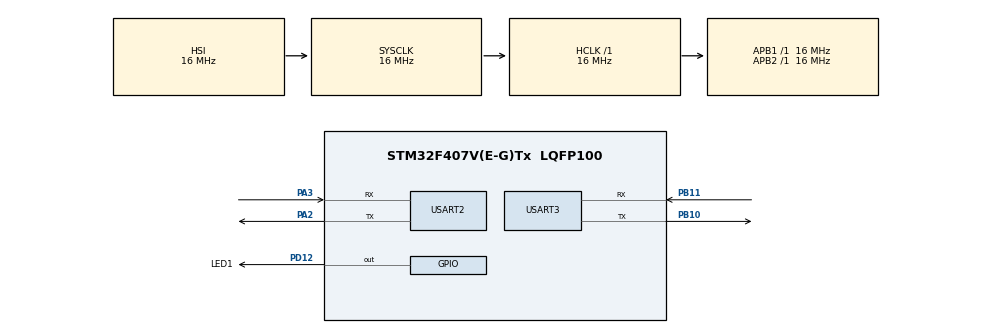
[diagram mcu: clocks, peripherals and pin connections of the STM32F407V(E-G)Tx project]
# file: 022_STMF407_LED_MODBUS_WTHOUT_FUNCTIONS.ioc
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Mcu.Family=STM32F4
Mcu.Name=STM32F407V(E-G)Tx
Mcu.Package=LQFP100
NVIC.PriorityGroup=NVIC_PRIORITYGROUP_4
NVIC.USART2_IRQn=true\:0\:0\:false\:false\:true\:true\:true\:true
PA13.Mode=Serial_Wire
PA13.Signal=SYS_JTMS-SWDIO
PA14.Mode=Serial_Wire
PA14.Signal=SYS_JTCK-SWCLK
PA2.Mode=Asynchronous
PA2.Signal=USART2_TX
PA3.Mode=Asynchronous
PA3.Signal=USART2_RX
PB10.Mode=Asynchronous
PB10.Signal=USART3_TX
PB11.Mode=Asynchronous
PB11.Signal=USART3_RX
PC14-OSC32_IN.Mode=LSE-External-Oscillator
PC14-OSC32_IN.Signal=RCC_OSC32_IN
PC15-OSC32_OUT.Mode=LSE-External-Oscillator
PC15-OSC32_OUT.Signal=RCC_OSC32_OUT
PD12.GPIO_Label=LED1
PD12.Signal=GPIO_Output
PH0-OSC_IN.Mode=HSE-External-Oscillator
PH0-OSC_IN.Signal=RCC_OSC_IN
PH1-OSC_OUT.Mode=HSE-External-Oscillator
PH1-OSC_OUT.Signal=RCC_OSC_OUT
ProjectManager.HeapSize=0x200
ProjectManager.StackSize=0x400
ProjectManager.TargetToolchain=STM32CubeIDE
RCC.AHBFreq_Value=16000000
RCC.APB1Freq_Value=16000000
RCC.APB1TimFreq_Value=16000000
RCC.APB2Freq_Value=16000000
RCC.APB2TimFreq_Value=16000000
RCC.CortexFreq_Value=16000000
RCC.HCLKFreq_Value=16000000
RCC.HSE_VALUE=25000000
RCC.HSI_VALUE=16000000
RCC.SYSCLKFreq_VALUE=16000000
RCC.VCOOutputFreq_Value=192000000
USART2.VirtualMode=VM_ASYNC
USART3.VirtualMode=VM_ASYNC
board=custom

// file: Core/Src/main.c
/* USER CODE BEGIN Header */
/**
  ******************************************************************************
  * @file           : main.c
  * @brief          : Main program body
  ******************************************************************************
  * @attention
  *
  * Copyright (c) 2024 STMicroelectronics.
  * All rights reserved.
  *
  * This software is licensed under terms that can be found in the LICENSE file
  * in the root directory of this software component.
  * If no LICENSE file comes with this software, it is provided AS-IS.
  *
  ******************************************************************************
  */
/* USER CODE END Header */
#include "main.h"

/* USER CODE BEGIN PD */
#define SLAVEID 1
/* USER CODE END PD */

UART_HandleTypeDef huart2;
UART_HandleTypeDef huart3;
uint8_t rxbuffer[100];
uint8_t txbuffer[100];

uint16_t registers[6]={1,2,3,4,5,66};

uint16_t Modbus_CRC16(uint8_t *data, uint16_t length)
{
    uint16_t crc = 0xFFFF;
    for (int pos = 0; pos < length; pos++)
    {
        crc ^= (uint16_t)data[pos];
        for (int i = 8; i != 0; i--)
        {
            if ((crc & 0x0001) != 0)
            {
                crc >>= 1;
                crc ^= 0xA001;
            }
            else
                crc >>= 1;
        }
    }
    return crc;
}

void SystemClock_Config(void);
static void MX_GPIO_Init(void);
static void MX_USART2_UART_Init(void);
static void MX_USART3_UART_Init(void);

int main(void)
{

  /* MCU Configuration--------------------------------------------------------*/

  /* Reset of all peripherals, Initializes the Flash interface and the Systick. */
  HAL_Init();

  /* Configure the system clock */
  SystemClock_Config();

  /* Initialize all configured peripherals */
  MX_GPIO_Init();
  MX_USART2_UART_Init();
  MX_USART3_UART_Init();

  /* Infinite loop */
  while (1)
  {

    /* USER CODE BEGIN 3 */

	  HAL_UART_Receive(&huart2, rxbuffer, sizeof(rxbuffer), 1000);

	  if(rxbuffer[0]==1 && rxbuffer[1]== 0x03){

		  uint16_t start_Reg = rxbuffer[2]<<8 | rxbuffer[3];

		  uint16_t num_Reg = rxbuffer[4]<<8 | rxbuffer[5];

		  uint8_t response [5+2*num_Reg+2];

		  response[0] = SLAVEID;

		  response[1] = 0x03;

		  response[2] = 2*num_Reg;

		  for(int i=0; i<num_Reg;i++){

			  response[3+i*2] = (registers[start_Reg+i]>>8) & 0xFF ;

			  response[4+i*2] =	registers[start_Reg+i] & 0xFF ;

		  }

		  uint16_t CRC2 = Modbus_CRC16(response, 3+2*num_Reg);

		  response[3 + 2*num_Reg] = CRC2 & 0xFF;

		  response[4 + 2*num_Reg] = (CRC2>>8) & 0xFF;

		  int response_size = (3+2*num_Reg+2);

		  HAL_UART_Transmit(&huart2, response, response_size, 100);

	  }

  }
  /* USER CODE END 3 */
}

void SystemClock_Config(void)
{
  RCC_OscInitTypeDef RCC_OscInitStruct = {0};
  RCC_ClkInitTypeDef RCC_ClkInitStruct = {0};

  /** Configure the main internal regulator output voltage
  */
  __HAL_RCC_PWR_CLK_ENABLE();
  __HAL_PWR_VOLTAGESCALING_CONFIG(PWR_REGULATOR_VOLTAGE_SCALE1);

  /** Initializes the RCC Oscillators according to the specified parameters
  * in the RCC_OscInitTypeDef structure.
  */
  RCC_OscInitStruct.OscillatorType = RCC_OSCILLATORTYPE_HSI;
  RCC_OscInitStruct.HSIState = RCC_HSI_ON;
  RCC_OscInitStruct.HSICalibrationValue = RCC_HSICALIBRATION_DEFAULT;
  RCC_OscInitStruct.PLL.PLLState = RCC_PLL_NONE;
  if (HAL_RCC_OscConfig(&RCC_OscInitStruct) != HAL_OK)
  {
    Error_Handler();
  }

  /** Initializes the CPU, AHB and APB buses clocks
  */
  RCC_ClkInitStruct.ClockType = RCC_CLOCKTYPE_HCLK|RCC_CLOCKTYPE_SYSCLK
                              |RCC_CLOCKTYPE_PCLK1|RCC_CLOCKTYPE_PCLK2;
  RCC_ClkInitStruct.SYSCLKSource = RCC_SYSCLKSOURCE_HSI;
  RCC_ClkInitStruct.AHBCLKDivider = RCC_SYSCLK_DIV1;
  RCC_ClkInitStruct.APB1CLKDivider = RCC_HCLK_DIV1;
  RCC_ClkInitStruct.APB2CLKDivider = RCC_HCLK_DIV1;

  if (HAL_RCC_ClockConfig(&RCC_ClkInitStruct, FLASH_LATENCY_0) != HAL_OK)
  {
    Error_Handler();
  }
}

static void MX_USART2_UART_Init(void)
{

  huart2.Instance = USART2;
  huart2.Init.BaudRate = 115200;
  huart2.Init.WordLength = UART_WORDLENGTH_8B;
  huart2.Init.StopBits = UART_STOPBITS_1;
  huart2.Init.Parity = UART_PARITY_NONE;
  huart2.Init.Mode = UART_MODE_TX_RX;
  huart2.Init.HwFlowCtl = UART_HWCONTROL_NONE;
  huart2.Init.OverSampling = UART_OVERSAMPLING_16;
  if (HAL_UART_Init(&huart2) != HAL_OK)
  {
    Error_Handler();
  }

}

static void MX_USART3_UART_Init(void)
{

  huart3.Instance = USART3;
  huart3.Init.BaudRate = 115200;
  huart3.Init.WordLength = UART_WORDLENGTH_8B;
  huart3.Init.StopBits = UART_STOPBITS_1;
  huart3.Init.Parity = UART_PARITY_NONE;
  huart3.Init.Mode = UART_MODE_TX_RX;
  huart3.Init.HwFlowCtl = UART_HWCONTROL_NONE;
  huart3.Init.OverSampling = UART_OVERSAMPLING_16;
  if (HAL_UART_Init(&huart3) != HAL_OK)
  {
    Error_Handler();
  }

}

static void MX_GPIO_Init(void)
{
  GPIO_InitTypeDef GPIO_InitStruct = {0};

  /* GPIO Ports Clock Enable */
  __HAL_RCC_GPIOC_CLK_ENABLE();
  __HAL_RCC_GPIOH_CLK_ENABLE();
  __HAL_RCC_GPIOA_CLK_ENABLE();
  __HAL_RCC_GPIOB_CLK_ENABLE();
  __HAL_RCC_GPIOD_CLK_ENABLE();

  /*Configure GPIO pin Output Level */
  HAL_GPIO_WritePin(LED1_GPIO_Port, LED1_Pin, GPIO_PIN_RESET);

  /*Configure GPIO pin : LED1_Pin */
  GPIO_InitStruct.Pin = LED1_Pin;
  GPIO_InitStruct.Mode = GPIO_MODE_OUTPUT_PP;
  GPIO_InitStruct.Pull = GPIO_NOPULL;
  GPIO_InitStruct.Speed = GPIO_SPEED_FREQ_LOW;
  HAL_GPIO_Init(LED1_GPIO_Port, &GPIO_InitStruct);

}

void Error_Handler(void)
{
  __disable_irq();
  while (1)
  {
  }
}
